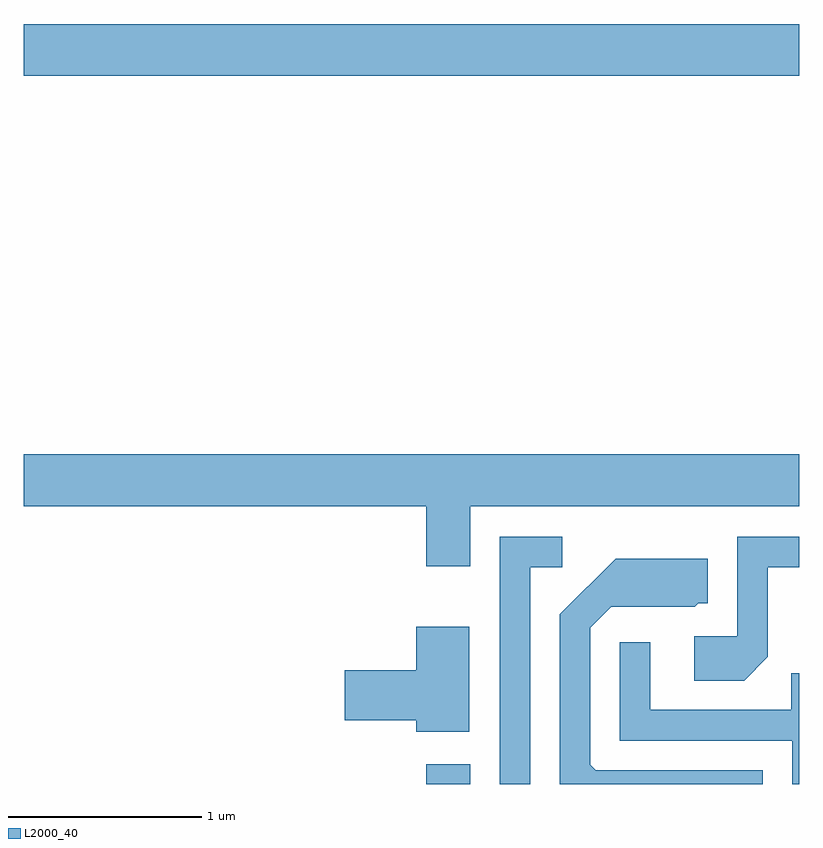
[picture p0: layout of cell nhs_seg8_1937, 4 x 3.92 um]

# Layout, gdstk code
import gdstk
lib = gdstk.Library(unit=1e-6, precision=1e-09)
def R(c, l, rs):  # rectangles x0, y0, x1, y1
    for r in rs: c.add(gdstk.rectangle(r[:2], r[2:], *l))
def P(c, l, *ps):  # polygons
    for p in ps: c.add(gdstk.Polygon(p, *l))
L2000_40 = (2000, 40)

nhs_seg8_1937 = lib.new_cell('nhs_seg8_1937')
R(nhs_seg8_1937, L2000_40, [(245.686,1808.342,245.914,1808.444), (243.611,1811.996,247.611,1812.264)])
P(nhs_seg8_1937, L2000_40, [(245.914,1809.776),(247.611,1809.776),(247.611,1810.044),(243.611,1810.044),(243.611,1809.776),(245.686,1809.776),(245.686,1809.466),(245.914,1809.466)],
  [(247.449,1808.999),(247.449,1809.461),(247.611,1809.461),(247.611,1809.619),(247.291,1809.619),(247.291,1809.104),(247.071,1809.104),(247.071,1808.876),(247.327,1808.876)],
  [(246.224,1809.461),(246.388,1809.461),(246.388,1809.619),(246.066,1809.619),(246.066,1808.342),(246.224,1808.342)],
  [(247.424,1808.414),(246.562,1808.414),(246.534,1808.442),(246.534,1809.149),(246.642,1809.256),(247.072,1809.256),(247.092,1809.276),(247.139,1809.276),(247.139,1809.504),(246.664,1809.504),(246.376,1809.217),(246.376,1808.342),(247.424,1808.342)],
  [(245.909,1809.154),(245.636,1809.154),(245.636,1808.929),(245.266,1808.929),(245.266,1808.671),(245.636,1808.671),(245.636,1808.611),(245.909,1808.611)],
  [(247.611,1808.913),(247.571,1808.913),(247.571,1808.724),(246.844,1808.724),(246.844,1809.073),(246.686,1809.073),(246.686,1808.566),(247.576,1808.566),(247.576,1808.342),(247.611,1808.342)])

lib.write_gds('nhs_seg8_1937.gds')
